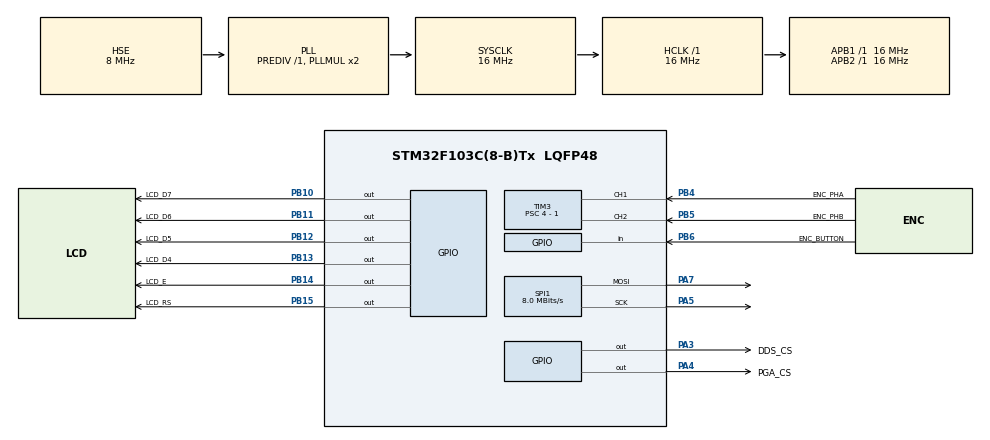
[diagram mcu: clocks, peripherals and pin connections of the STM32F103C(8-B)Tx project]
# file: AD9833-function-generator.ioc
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Mcu.Family=STM32F1
Mcu.Name=STM32F103C(8-B)Tx
Mcu.Package=LQFP48
NVIC.PriorityGroup=NVIC_PRIORITYGROUP_4
NVIC.TIM3_IRQn=true\:0\:0\:false\:false\:true\:true\:true\:true
PA13.Mode=Serial_Wire
PA13.Signal=SYS_JTMS-SWDIO
PA14.Mode=Serial_Wire
PA14.Signal=SYS_JTCK-SWCLK
PA3.GPIO_Label=DDS_CS
PA3.GPIO_Speed=GPIO_SPEED_FREQ_MEDIUM
PA3.PinState=GPIO_PIN_SET
PA3.Signal=GPIO_Output
PA4.GPIO_Label=PGA_CS
PA4.GPIO_Speed=GPIO_SPEED_FREQ_MEDIUM
PA4.PinState=GPIO_PIN_SET
PA4.Signal=GPIO_Output
PA5.Mode=TX_Only_Simplex_Unidirect_Master
PA5.Signal=SPI1_SCK
PA7.Mode=TX_Only_Simplex_Unidirect_Master
PA7.Signal=SPI1_MOSI
PB10.GPIO_Label=LCD_D7
PB10.Signal=GPIO_Output
PB11.GPIO_Label=LCD_D6
PB11.Signal=GPIO_Output
PB12.GPIO_Label=LCD_D5
PB12.Signal=GPIO_Output
PB13.GPIO_Label=LCD_D4
PB13.Signal=GPIO_Output
PB14.GPIO_Label=LCD_E
PB14.Signal=GPIO_Output
PB15.GPIO_Label=LCD_RS
PB15.Signal=GPIO_Output
PB4.GPIO_Label=ENC_PHA
PB4.GPIO_PuPd=GPIO_PULLUP
PB4.Signal=S_TIM3_CH1
PB5.GPIO_Label=ENC_PHB
PB5.GPIO_PuPd=GPIO_PULLUP
PB5.Signal=S_TIM3_CH2
PB6.GPIO_Label=ENC_BUTTON
PB6.GPIO_PuPd=GPIO_PULLUP
PB6.Signal=GPIO_Input
PD0-OSC_IN.Mode=HSE-External-Oscillator
PD0-OSC_IN.Signal=RCC_OSC_IN
PD1-OSC_OUT.Mode=HSE-External-Oscillator
PD1-OSC_OUT.Signal=RCC_OSC_OUT
ProjectManager.HeapSize=0x200
ProjectManager.StackSize=0x1000
ProjectManager.TargetToolchain=STM32CubeIDE
RCC.AHBFreq_Value=16000000
RCC.APB1Freq_Value=16000000
RCC.APB1TimFreq_Value=16000000
RCC.APB2Freq_Value=16000000
RCC.APB2TimFreq_Value=16000000
RCC.HCLKFreq_Value=16000000
RCC.PLLSourceVirtual=RCC_PLLSOURCE_HSE
RCC.SYSCLKFreq_VALUE=16000000
RCC.SYSCLKSource=RCC_SYSCLKSOURCE_PLLCLK
RCC.USBFreq_Value=16000000
SH.S_TIM3_CH1.0=TIM3_CH1,Encoder_Interface
SH.S_TIM3_CH2.0=TIM3_CH2,Encoder_Interface
SPI1.BaudRatePrescaler=SPI_BAUDRATEPRESCALER_2
SPI1.CLKPolarity=SPI_POLARITY_HIGH
SPI1.CalculateBaudRate=8.0 MBits/s
SPI1.DataSize=SPI_DATASIZE_16BIT
SPI1.Direction=SPI_DIRECTION_2LINES
SPI1.Mode=SPI_MODE_MASTER
SPI1.VirtualType=VM_MASTER
TIM3.EncoderMode=TIM_ENCODERMODE_TI12
TIM3.IC1Filter=10
TIM3.IC1Polarity=TIM_ICPOLARITY_FALLING
TIM3.IC2Filter=10
TIM3.IC2Polarity=TIM_ICPOLARITY_FALLING
TIM3.Prescaler=4 - 1
board=custom

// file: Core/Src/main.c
/* USER CODE BEGIN Header */
/**
  ******************************************************************************
  * @file           : main.c
  * @brief          : Main program body
  ******************************************************************************
  * @attention
  *
  * Copyright (c) 2025 STMicroelectronics.
  * All rights reserved.
  *
  * This software is licensed under terms that can be found in the LICENSE file
  * in the root directory of this software component.
  * If no LICENSE file comes with this software, it is provided AS-IS.
  *
  ******************************************************************************
  */
/* USER CODE END Header */
#include "main.h"
#include "spi.h"
#include "tim.h"
#include "gpio.h"

/* USER CODE BEGIN Includes */
#include <hd44780.h>
#include <hd44780_io.h>
#include <encoder.h>
#include <dds.h>
#include <settings.h>
#include <gui.h>
/* USER CODE END Includes */

void SystemClock_Config(void);

int main(void)
{

  /* MCU Configuration--------------------------------------------------------*/

  /* Reset of all peripherals, Initializes the Flash interface and the Systick. */
  HAL_Init();

  /* Configure the system clock */
  SystemClock_Config();

  /* Initialize all configured peripherals */
  MX_GPIO_Init();
  MX_SPI1_Init();
  MX_TIM3_Init();
  /* USER CODE BEGIN 2 */

  /* TODO:
   * - implement missing phase control function in dds.c
   * - implement PGA control in dds.c
   * - integration with DDS
   * - add watchdog
   */

  const hd44780_config_t lcd_config = {
		  .io = hd44780_io_get(),
		  .type = HD44780_DISPLAY_16x2,
		  .entry_mode_flags = HD44780_INCREASE_CURSOR_ON
  };
  hd44780_init(&lcd_config);
  encoder_init(); // TODO check return codes
  dds_init();
  settings_init();
  gui_init();

  /* USER CODE END 2 */

  /* Infinite loop */
  /* USER CODE BEGIN WHILE */
  while (1)
  {
	  gui_task();
    /* USER CODE END WHILE */

  }
}

void SystemClock_Config(void)
{
  RCC_OscInitTypeDef RCC_OscInitStruct = {0};
  RCC_ClkInitTypeDef RCC_ClkInitStruct = {0};

  /** Initializes the RCC Oscillators according to the specified parameters
  * in the RCC_OscInitTypeDef structure.
  */
  RCC_OscInitStruct.OscillatorType = RCC_OSCILLATORTYPE_HSE;
  RCC_OscInitStruct.HSEState = RCC_HSE_ON;
  RCC_OscInitStruct.HSEPredivValue = RCC_HSE_PREDIV_DIV1;
  RCC_OscInitStruct.HSIState = RCC_HSI_ON;
  RCC_OscInitStruct.PLL.PLLState = RCC_PLL_ON;
  RCC_OscInitStruct.PLL.PLLSource = RCC_PLLSOURCE_HSE;
  RCC_OscInitStruct.PLL.PLLMUL = RCC_PLL_MUL2;
  if (HAL_RCC_OscConfig(&RCC_OscInitStruct) != HAL_OK)
  {
    Error_Handler();
  }

  /** Initializes the CPU, AHB and APB buses clocks
  */
  RCC_ClkInitStruct.ClockType = RCC_CLOCKTYPE_HCLK|RCC_CLOCKTYPE_SYSCLK
                              |RCC_CLOCKTYPE_PCLK1|RCC_CLOCKTYPE_PCLK2;
  RCC_ClkInitStruct.SYSCLKSource = RCC_SYSCLKSOURCE_PLLCLK;
  RCC_ClkInitStruct.AHBCLKDivider = RCC_SYSCLK_DIV1;
  RCC_ClkInitStruct.APB1CLKDivider = RCC_HCLK_DIV1;
  RCC_ClkInitStruct.APB2CLKDivider = RCC_HCLK_DIV1;

  if (HAL_RCC_ClockConfig(&RCC_ClkInitStruct, FLASH_LATENCY_0) != HAL_OK)
  {
    Error_Handler();
  }
}

void Error_Handler(void)
{
  __disable_irq();
  while (1)
  {
  }
}
